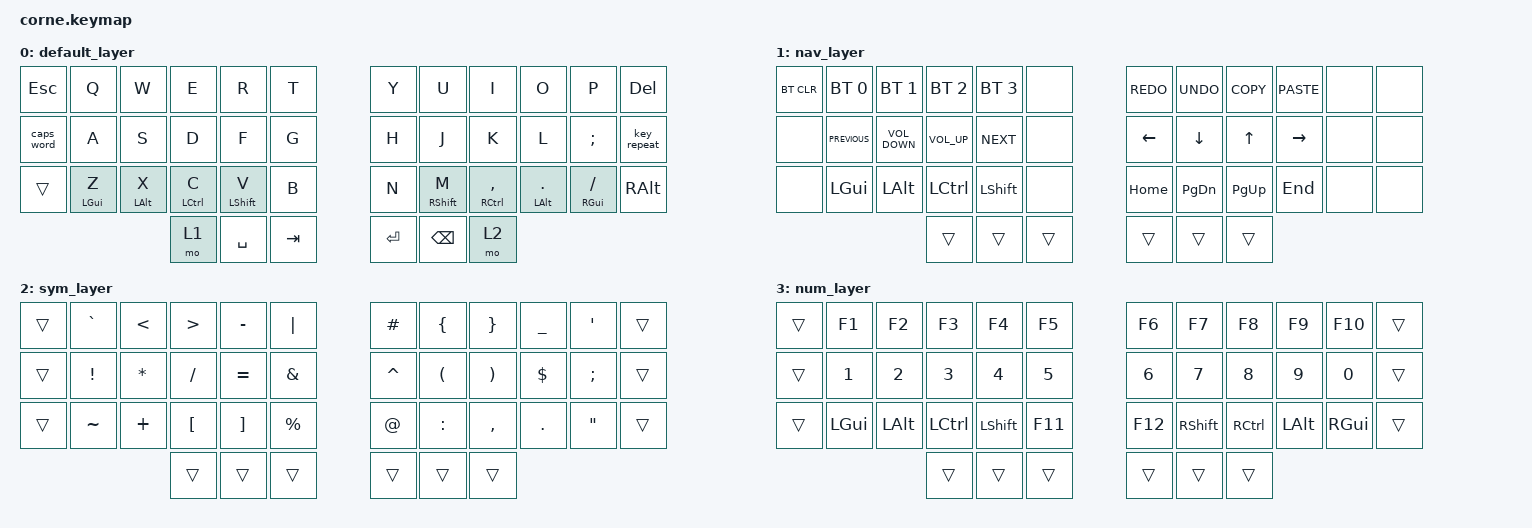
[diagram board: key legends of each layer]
/*
 * Alan's Corne ZMK config
 * 
 * Originally created for QMK by Mark Stosberg (@markstos)
 * Adapted for ZMK by Michał Minarowski (@n3oney)
 * 
 * SPDX-License-Identifier: GPL-2.0-or-later
 */

#include <behaviors.dtsi>
#include <dt-bindings/zmk/bt.h>
#include <dt-bindings/zmk/keys.h>

/ {
    combos {
        compatible = "zmk,combos";

        jk_escape {
            bindings = <&kp ESCAPE>;
            key-positions = <19 20>;
            timeout-ms = <30>;
        };
    };

    behaviors {
        hrm_l: hrm_l {
            compatible = "zmk,behavior-hold-tap";
            label = "HRM_L";
            bindings = <&kp>, <&kp>;

            #binding-cells = <2>;
            tapping-term-ms = <280>;
            quick-tap-ms = <175>;
            require-prior-idle-ms = <150>;
            flavor = "balanced";
            hold-trigger-on-release;
            hold-trigger-key-positions = <6 7 8 9 10 11 18 19 20 21 22 23 30 31 32 33 34 35 36 37 38 39 40 41>;
        };

        hrm_r: hrm_r {
            compatible = "zmk,behavior-hold-tap";
            label = "HRM_R";
            bindings = <&kp>, <&kp>;

            #binding-cells = <2>;
            tapping-term-ms = <280>;
            quick-tap-ms = <175>;
            require-prior-idle-ms = <150>;
            flavor = "balanced";
            hold-trigger-key-positions = <0 1 2 3 4 5 12 13 14 15 16 17 24 25 26 27 28 29 36 37 38 41 40 39>;
            hold-trigger-on-release;
        };
    };

    keymap {
        compatible = "zmk,keymap";

        default_layer {
            bindings = <
&kp ESC     &kp Q          &kp W          &kp E                  &kp R                &kp T      &kp Y       &kp U                 &kp I                       &kp O                   &kp P                   &kp DELETE
&caps_word  &kp A          &kp S          &kp D                  &kp F                &kp G      &kp H       &kp J                 &kp K                       &kp L                   &kp SEMI                &key_repeat
&trans      &hrm_l LGUI Z  &hrm_l LALT X  &hrm_l LEFT_CONTROL C  &hrm_l LEFT_SHIFT V  &kp B      &kp N       &hrm_r RIGHT_SHIFT M  &hrm_r RIGHT_CONTROL COMMA  &hrm_r LEFT_ALT PERIOD  &hrm_r RIGHT_GUI SLASH  &kp RIGHT_ALT
                                          &mo 1                  &kp SPACE            &kp TAB    &kp RETURN  &kp BACKSPACE         &mo 2
            >;
        };

        nav_layer {
            bindings = <
&bt BT_CLR  &bt BT_SEL 0    &bt BT_SEL 1       &bt BT_SEL 2  &bt BT_SEL 3  &none     &kp K_REDO  &kp K_UNDO  &kp K_COPY  &kp K_PASTE  &none  &none
&none       &kp C_PREVIOUS  &kp C_VOLUME_DOWN  &kp C_VOL_UP  &kp C_NEXT    &none     &kp LEFT    &kp DOWN    &kp UP      &kp RIGHT    &none  &none
&none       &kp LGUI        &kp LALT           &kp LCTRL     &kp LSHFT     &none     &kp HOME    &kp PG_DN   &kp PG_UP   &kp END      &none  &none
                                               &trans        &trans        &trans    &trans      &trans      &trans
            >;
        };

        sym_layer {
            bindings = <
&trans  &kp GRAVE        &kp LESS_THAN  &kp GREATER_THAN  &kp MINUS          &kp PIPE         &kp HASH     &kp LEFT_BRACE        &kp RIGHT_BRACE        &kp UNDERSCORE  &kp SINGLE_QUOTE   &trans
&trans  &kp EXCLAMATION  &kp ASTERISK   &kp SLASH         &kp EQUAL          &kp AMPERSAND    &kp CARET    &kp LEFT_PARENTHESIS  &kp RIGHT_PARENTHESIS  &kp DOLLAR      &kp SEMICOLON      &trans
&trans  &kp TILDE        &kp PLUS       &kp LEFT_BRACKET  &kp RIGHT_BRACKET  &kp PERCENT      &kp AT_SIGN  &kp COLON             &kp COMMA              &kp PERIOD      &kp DOUBLE_QUOTES  &trans
                                        &trans            &trans             &trans           &trans       &trans                &trans
            >;
        };

        num_layer {
            bindings = <
&trans  &kp F1    &kp F2    &kp F3     &kp F4     &kp F5     &kp F6   &kp F7     &kp F8     &kp F9    &kp F10   &trans
&trans  &kp N1    &kp N2    &kp N3     &kp N4     &kp N5     &kp N6   &kp N7     &kp N8     &kp N9    &kp N0    &trans
&trans  &kp LGUI  &kp LALT  &kp LCTRL  &kp LSHFT  &kp F11    &kp F12  &kp RSHFT  &kp RCTRL  &kp LALT  &kp RGUI  &trans
                            &trans     &trans     &trans     &trans   &trans     &trans
            >;
        };
    };

    conditional_layers {
        compatible = "zmk,conditional-layers";

        activate_num {
            if-layers = <1 2>;
            then-layer = <3>;
        };
    };
};
